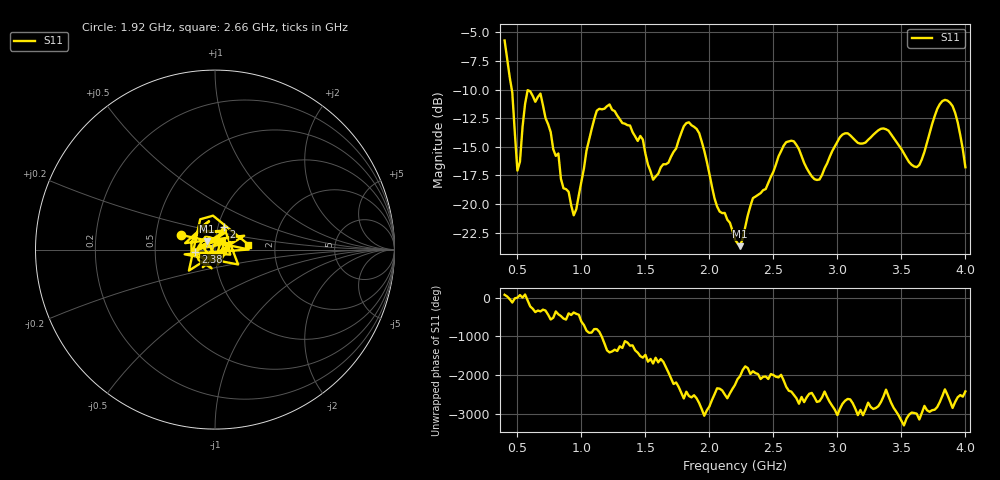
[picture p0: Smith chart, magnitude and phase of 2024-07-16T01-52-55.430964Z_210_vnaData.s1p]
!Created with skrf (http://scikit-rf.org).
# Hz S RI R 50.0
!freq ReS11 ImS11
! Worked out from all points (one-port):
!   181 points, 400 MHz to 4 GHz, reference 50 ohm
!   lowest |S11| = -23.7 dB at 2.24 GHz (marker M1), VSWR 1.14, Z = 45.3 + j4.14 ohm
!   |S11| at or under -10 dB: 456.2 MHz to end of sweep
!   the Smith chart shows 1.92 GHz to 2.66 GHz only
!   S11 on the Smith chart (normalised r, x): 1.92 GHz: 0.68, +0.11; 2 GHz: 1.07, +0.27; 2.38 GHz: 0.80, -0.02; 2.66 GHz: 1.45, +0.09
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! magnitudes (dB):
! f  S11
! 400 MHz  -5.7
! 460 MHz  -10.3
! 500 MHz  -17.1
! 580 MHz  -10.0
! 680 MHz  -10.3
! 820 MHz  -15.6
! 860 MHz  -18.6
! 940 MHz  -21.0
! 1.12 GHz  -11.8
! 1.3 GHz  -12.6
! 1.48 GHz  -14.4
! 1.56 GHz  -17.9
! 1.76 GHz  -14.4
! 1.82 GHz  -12.9
! 1.92 GHz  -13.8
! 2 GHz  -17.4
! 2.2 GHz  -23.1
! 2.24 GHz  -23.7
! 2.38 GHz  -19.2
! 2.66 GHz  -14.5
! 2.84 GHz  -17.9
! 3.1 GHz  -14.0
! 3.38 GHz  -13.5
! 3.56 GHz  -16.3
! 3.64 GHz  -16.6
! 3.84 GHz  -10.9
! 3.92 GHz  -12.0
! 4 GHz  -16.8
